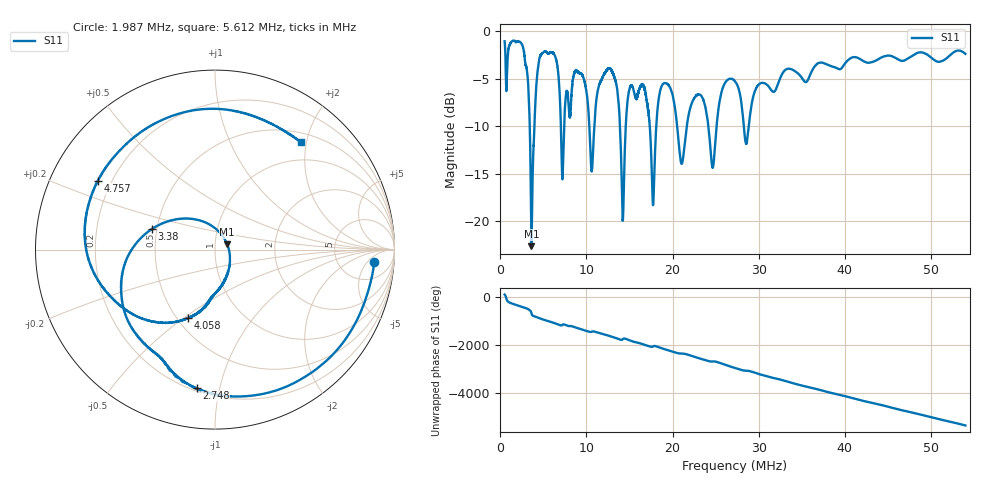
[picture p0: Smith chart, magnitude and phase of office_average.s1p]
! Two-sweep complex average, installed office-feed system
# Hz S RI R 50
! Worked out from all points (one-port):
!   40001 points, 500 kHz to 54 MHz, reference 50 ohm
!   lowest |S11| = -22.7 dB at 3.618 MHz (marker M1), VSWR 1.16, Z = 57.2 + j3.3 ohm
!   |S11| at or under -10 dB: 17.35 MHz to 18.11 MHz (752 kHz wide, 4.24 % of centre); 20.53 MHz to 21.65 MHz (1.12 MHz wide, 5.31 % of centre); 24.16 MHz to 25.11 MHz (950.2 kHz wide, 3.86 % of centre)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
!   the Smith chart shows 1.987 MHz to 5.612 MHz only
!   S11 on the Smith chart (normalised r, x): 1.987 MHz: 12, -8; 2.748 MHz: 0.22, -0.85; 3.38 MHz: 0.47, +0.13; 4.058 MHz: 0.57, -0.52; 4.757 MHz: 0.15, +0.27; 5.612 MHz: 0.65, +1.89
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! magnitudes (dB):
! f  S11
! 500 kHz  -1.0
! 1.987 MHz  -1.0
! 2.748 MHz  -2.2
! 3.38 MHz  -8.6
! 3.618 MHz  -22.7
! 4.058 MHz  -7.7
! 4.757 MHz  -2.4
! 5.612 MHz  -2.3
! 6.576 MHz  -3.3
! 7.188 MHz  -15.4
! 8.835 MHz  -4.2
! 10.61 MHz  -14.7
! 12.45 MHz  -4.0
! 13.88 MHz  -9.5
! 14.23 MHz  -19.9
! 15.16 MHz  -5.7
! 16.79 MHz  -6.3
! 17.72 MHz  -18.3
! 18.8 MHz  -5.7
! 20.56 MHz  -10.3
! 23.24 MHz  -6.7
! 24.67 MHz  -14.4
! 27.25 MHz  -5.3
! 28.56 MHz  -11.8
! 33.94 MHz  -4.0
! 40.62 MHz  -2.9
! 47.31 MHz  -2.9
! 54 MHz  -2.4
